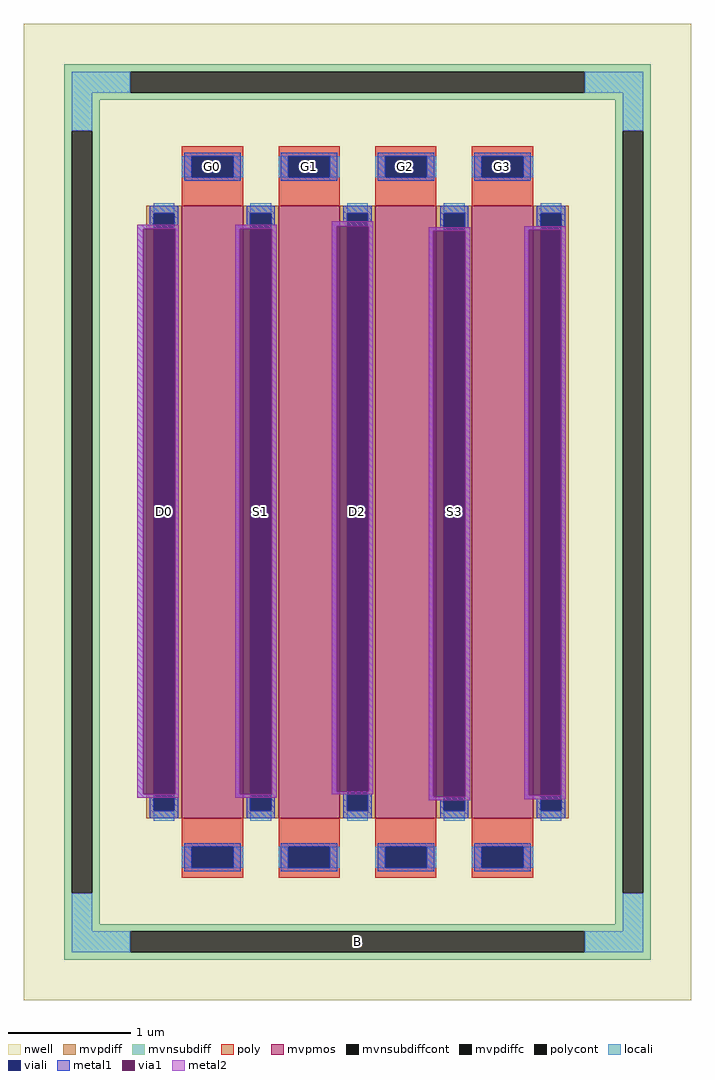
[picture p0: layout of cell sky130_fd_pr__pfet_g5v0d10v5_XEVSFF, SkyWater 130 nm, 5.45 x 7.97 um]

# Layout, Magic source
magic
tech sky130A
magscale 1 2
<< nwell >>
rect -545 -797 545 797
<< mvpmos >>
rect -287 -500 -187 500
rect -129 -500 -29 500
rect 29 -500 129 500
rect 187 -500 287 500
<< mvpdiff >>
rect -345 488 -287 500
rect -345 -488 -333 488
rect -299 -488 -287 488
rect -345 -500 -287 -488
rect -187 488 -129 500
rect -187 -488 -175 488
rect -141 -488 -129 488
rect -187 -500 -129 -488
rect -29 488 29 500
rect -29 -488 -17 488
rect 17 -488 29 488
rect -29 -500 29 -488
rect 129 488 187 500
rect 129 -488 141 488
rect 175 -488 187 488
rect 129 -500 187 -488
rect 287 488 345 500
rect 287 -488 299 488
rect 333 -488 345 488
rect 287 -500 345 -488
<< mvpdiffc >>
rect -333 -488 -299 488
rect -175 -488 -141 488
rect -17 -488 17 488
rect 141 -488 175 488
rect 299 -488 333 488
<< mvnsubdiff >>
rect -479 719 479 731
rect -479 685 -371 719
rect 371 685 479 719
rect -479 673 479 685
rect -479 623 -421 673
rect -479 -623 -467 623
rect -433 -623 -421 623
rect 421 623 479 673
rect -479 -673 -421 -623
rect 421 -623 433 623
rect 467 -623 479 623
rect 421 -673 479 -623
rect -479 -685 479 -673
rect -479 -719 -371 -685
rect 371 -719 479 -685
rect -479 -731 479 -719
<< mvnsubdiffcont >>
rect -371 685 371 719
rect -467 -623 -433 623
rect 433 -623 467 623
rect -371 -719 371 -685
<< poly >>
rect -287 581 -187 597
rect -287 547 -271 581
rect -203 547 -187 581
rect -287 500 -187 547
rect -129 581 -29 597
rect -129 547 -113 581
rect -45 547 -29 581
rect -129 500 -29 547
rect 29 581 129 597
rect 29 547 45 581
rect 113 547 129 581
rect 29 500 129 547
rect 187 581 287 597
rect 187 547 203 581
rect 271 547 287 581
rect 187 500 287 547
rect -287 -547 -187 -500
rect -287 -581 -271 -547
rect -203 -581 -187 -547
rect -287 -597 -187 -581
rect -129 -547 -29 -500
rect -129 -581 -113 -547
rect -45 -581 -29 -547
rect -129 -597 -29 -581
rect 29 -547 129 -500
rect 29 -581 45 -547
rect 113 -581 129 -547
rect 29 -597 129 -581
rect 187 -547 287 -500
rect 187 -581 203 -547
rect 271 -581 287 -547
rect 187 -597 287 -581
<< polycont >>
rect -271 547 -203 581
rect -113 547 -45 581
rect 45 547 113 581
rect 203 547 271 581
rect -271 -581 -203 -547
rect -113 -581 -45 -547
rect 45 -581 113 -547
rect 203 -581 271 -547
<< locali >>
rect -467 685 -371 719
rect 371 685 467 719
rect -467 623 -433 685
rect 433 623 467 685
rect -287 547 -271 581
rect -203 547 -187 581
rect -129 547 -113 581
rect -45 547 -29 581
rect 29 547 45 581
rect 113 547 129 581
rect 187 547 203 581
rect 271 547 287 581
rect -333 488 -299 504
rect -333 -504 -299 -488
rect -175 488 -141 504
rect -175 -504 -141 -488
rect -17 488 17 504
rect -17 -504 17 -488
rect 141 488 175 504
rect 141 -504 175 -488
rect 299 488 333 504
rect 299 -504 333 -488
rect -287 -581 -271 -547
rect -203 -581 -187 -547
rect -129 -581 -113 -547
rect -45 -581 -29 -547
rect 29 -581 45 -547
rect 113 -581 129 -547
rect 187 -581 203 -547
rect 271 -581 287 -547
rect -467 -685 -433 -623
rect 433 -685 467 -623
rect -467 -719 -371 -685
rect 371 -719 467 -685
<< viali >>
rect -271 547 -203 581
rect -113 547 -45 581
rect 45 547 113 581
rect 203 547 271 581
rect -333 -488 -299 488
rect -175 -488 -141 488
rect -17 -488 17 488
rect 141 -488 175 488
rect 299 -488 333 488
rect -271 -581 -203 -547
rect -113 -581 -45 -547
rect 45 -581 113 -547
rect 203 -581 271 -547
<< metal1 >>
rect -283 581 -191 587
rect -283 547 -271 581
rect -203 547 -191 581
rect -283 541 -191 547
rect -125 581 -33 587
rect -125 547 -113 581
rect -45 547 -33 581
rect -125 541 -33 547
rect 33 581 125 587
rect 33 547 45 581
rect 113 547 125 581
rect 33 541 125 547
rect 191 581 283 587
rect 191 547 203 581
rect 271 547 283 581
rect 191 541 283 547
rect -339 488 -293 500
rect -339 469 -333 488
rect -360 463 -333 469
rect -299 469 -293 488
rect -181 488 -135 500
rect -181 469 -175 488
rect -299 463 -292 469
rect -360 -461 -350 463
rect -298 -461 -292 463
rect -360 -467 -333 -461
rect -339 -488 -333 -467
rect -299 -467 -292 -461
rect -200 463 -175 469
rect -141 469 -135 488
rect -23 488 23 500
rect -23 475 -17 488
rect -141 463 -132 469
rect -200 -461 -192 463
rect -140 -461 -132 463
rect -42 467 -17 475
rect 17 475 23 488
rect 135 488 181 500
rect 17 467 26 475
rect -42 -457 -34 467
rect 18 -457 26 467
rect 135 465 141 488
rect -42 -461 -17 -457
rect -200 -467 -175 -461
rect -299 -488 -293 -467
rect -339 -500 -293 -488
rect -181 -488 -175 -467
rect -141 -467 -132 -461
rect -141 -488 -135 -467
rect -181 -500 -135 -488
rect -23 -488 -17 -461
rect 17 -461 26 -457
rect 116 459 141 465
rect 175 465 181 488
rect 293 488 339 500
rect 293 467 299 488
rect 175 459 184 465
rect 17 -488 23 -461
rect 116 -465 124 459
rect 176 -465 184 459
rect 116 -471 141 -465
rect -23 -500 23 -488
rect 135 -488 141 -471
rect 175 -471 184 -465
rect 272 461 299 467
rect 333 467 339 488
rect 272 -463 280 461
rect 272 -469 299 -463
rect 175 -488 181 -471
rect 135 -500 181 -488
rect 293 -488 299 -469
rect 333 -469 340 467
rect 333 -488 339 -469
rect 293 -500 339 -488
rect -283 -547 -191 -541
rect -283 -581 -271 -547
rect -203 -581 -191 -547
rect -283 -587 -191 -581
rect -125 -547 -33 -541
rect -125 -581 -113 -547
rect -45 -581 -33 -547
rect -125 -587 -33 -581
rect 33 -547 125 -541
rect 33 -581 45 -547
rect 113 -581 125 -547
rect 33 -587 125 -581
rect 191 -547 283 -541
rect 191 -581 203 -547
rect 271 -581 283 -547
rect 191 -587 283 -581
<< via1 >>
rect -350 -461 -333 463
rect -333 -461 -299 463
rect -299 -461 -298 463
rect -192 -461 -175 463
rect -175 -461 -141 463
rect -141 -461 -140 463
rect -34 -457 -17 467
rect -17 -457 17 467
rect 17 -457 18 467
rect 124 -465 141 459
rect 141 -465 175 459
rect 175 -465 176 459
rect 280 -463 299 461
rect 299 -463 332 461
<< metal2 >>
rect -360 463 -292 469
rect -360 -461 -350 463
rect -298 -461 -292 463
rect -360 -467 -292 -461
rect -200 463 -132 469
rect -200 -461 -192 463
rect -140 -461 -132 463
rect -42 467 26 475
rect -42 -457 -34 467
rect 18 -457 26 467
rect -42 -461 26 -457
rect 116 459 184 465
rect -200 -467 -132 -461
rect 116 -465 124 459
rect 176 -465 184 459
rect 116 -471 184 -465
rect 272 461 340 467
rect 272 -463 280 461
rect 332 -463 340 461
rect 272 -469 340 -463
<< labels >>
rlabel mvnsubdiffcont 0 -702 0 -702 0 B
port 1 nsew
rlabel mvpdiffc -316 0 -316 0 0 D0
port 2 nsew
rlabel polycont -237 564 -237 564 0 G0
port 3 nsew
rlabel mvpdiffc -158 0 -158 0 0 S1
port 4 nsew
rlabel polycont -79 564 -79 564 0 G1
port 5 nsew
rlabel mvpdiffc 0 0 0 0 0 D2
port 6 nsew
rlabel polycont 79 564 79 564 0 G2
port 7 nsew
rlabel mvpdiffc 158 0 158 0 0 S3
port 8 nsew
rlabel polycont 237 564 237 564 0 G3
port 9 nsew
<< properties >>
string FIXED_BBOX -450 -702 450 702
string gencell sky130_fd_pr__pfet_g5v0d10v5
string library sky130
string parameters w 5 l 0.50 m 1 nf 4 diffcov 100 polycov 100 guard 1 glc 1 grc 1 gtc 1 gbc 1 tbcov 100 rlcov 100 topc 1 botc 1 poverlap 0 doverlap 1 lmin 0.50 wmin 0.42 class mosfet compatible {sky130_fd_pr__pfet_01v8  sky130_fd_pr__pfet_01v8_lvt sky130_fd_pr__pfet_01v8_hvt  sky130_fd_pr__pfet_g5v0d10v5} full_metal 1 conn_gates 0 viasrc 100 viadrn 100 viagate 100 viagb 0 viagr 0 viagl 0 viagt 0 doports 1
<< end >>
